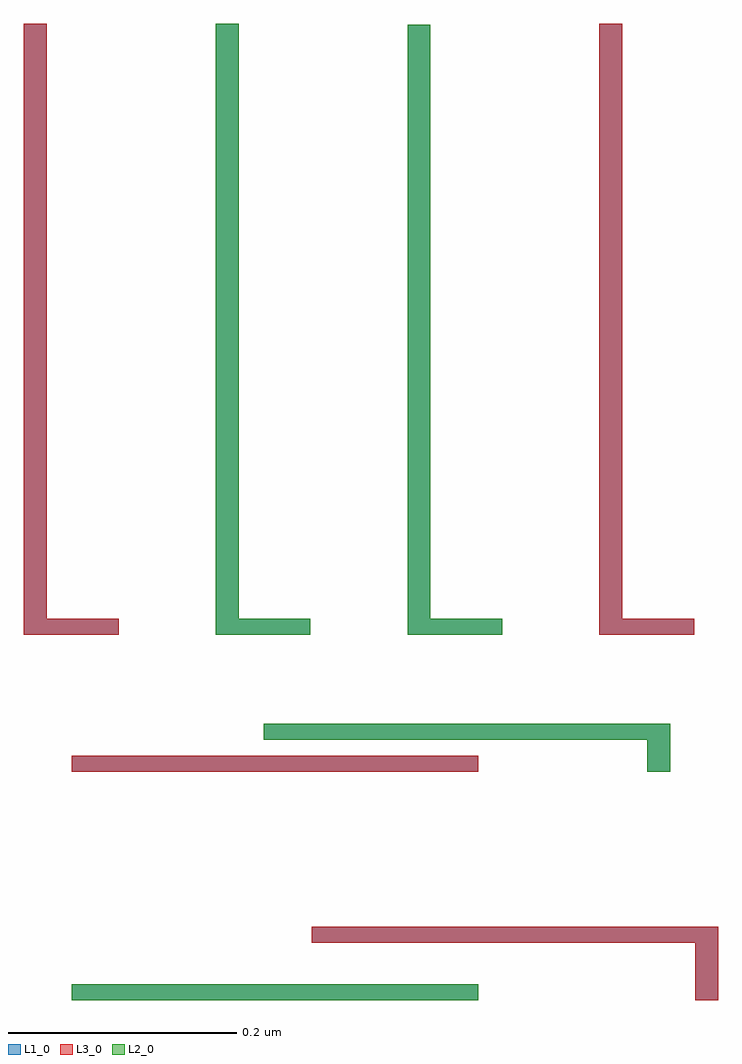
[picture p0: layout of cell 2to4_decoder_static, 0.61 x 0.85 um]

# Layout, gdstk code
import gdstk
lib = gdstk.Library(unit=1e-6, precision=5e-10)
def R(c, l, rs):  # rectangles x0, y0, x1, y1
    for r in rs: c.add(gdstk.rectangle(r[:2], r[2:], *l))
def P(c, l, *ps):  # polygons
    for p in ps: c.add(gdstk.Polygon(p, *l))
L1_0 = (1, 0)
L2_0 = (2, 0)
L3_0 = (3, 0)

c_2to4_decoder_static = lib.new_cell('2to4_decoder_static')
R(c_2to4_decoder_static, L1_0, [(0.0455,0.066,0.4015,0.08), (0.0455,0.266,0.4015,0.28)])
P(c_2to4_decoder_static, L1_0, [(0.5275,0.921),(0.5275,0.4),(0.5905,0.4),(0.5905,0.386),(0.5075,0.386),(0.5075,0.921)],
  [(0.3595,0.9205),(0.3595,0.4),(0.4225,0.4),(0.4225,0.386),(0.3395,0.386),(0.3395,0.9205)],
  [(0.6115,0.13),(0.6115,0.066),(0.5915,0.066),(0.5915,0.116),(0.2555,0.116),(0.2555,0.13)],
  [(0.5695,0.308),(0.5695,0.266),(0.5495,0.266),(0.5495,0.294),(0.2135,0.294),(0.2135,0.308)],
  [(0.1915,0.921),(0.1915,0.4),(0.2545,0.4),(0.2545,0.386),(0.1715,0.386),(0.1715,0.921)],
  [(0.0235,0.921),(0.0235,0.4),(0.0865,0.4),(0.0865,0.386),(0.0035,0.386),(0.0035,0.921)])
R(c_2to4_decoder_static, L2_0, [(0.0455,0.066,0.4015,0.08)])
P(c_2to4_decoder_static, L2_0, [(0.3595,0.9205),(0.3595,0.4),(0.4225,0.4),(0.4225,0.386),(0.3395,0.386),(0.3395,0.9205)],
  [(0.5695,0.308),(0.5695,0.266),(0.5495,0.266),(0.5495,0.294),(0.2135,0.294),(0.2135,0.308)],
  [(0.1915,0.921),(0.1915,0.4),(0.2545,0.4),(0.2545,0.386),(0.1715,0.386),(0.1715,0.921)])
R(c_2to4_decoder_static, L3_0, [(0.0455,0.266,0.4015,0.28)])
P(c_2to4_decoder_static, L3_0, [(0.5275,0.921),(0.5275,0.4),(0.5905,0.4),(0.5905,0.386),(0.5075,0.386),(0.5075,0.921)],
  [(0.6115,0.13),(0.6115,0.066),(0.5915,0.066),(0.5915,0.116),(0.2555,0.116),(0.2555,0.13)],
  [(0.0235,0.921),(0.0235,0.4),(0.0865,0.4),(0.0865,0.386),(0.0035,0.386),(0.0035,0.921)])

lib.write_gds('2to4_decoder_static.gds')
